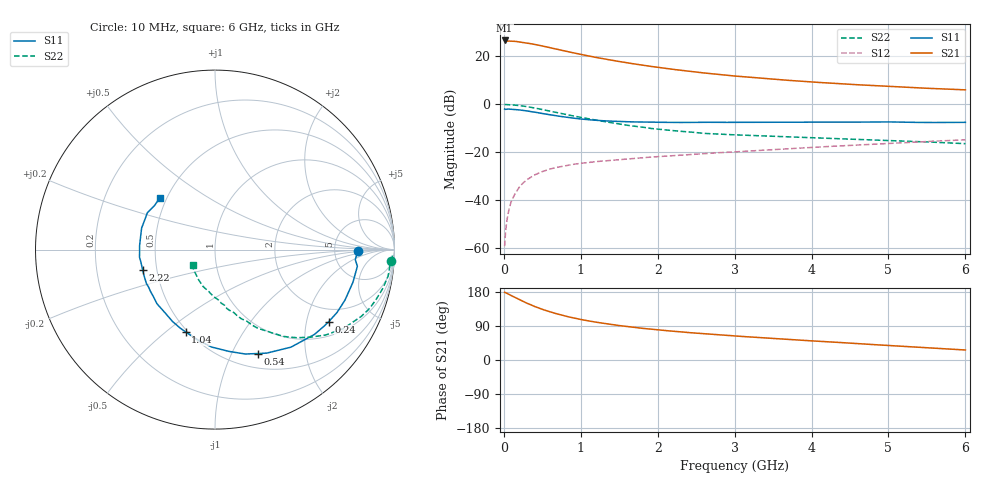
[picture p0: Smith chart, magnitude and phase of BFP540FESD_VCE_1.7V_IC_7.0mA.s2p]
! Infineon Technologies  Discrete & RF Semiconductors
! BFP540FESD
! VCE =  1.7 V,  IC =  7.0 mA
! Common Emitter S-Parameters:  Nov 2015
# GHz  S  MA  R  50
!  f  S11  S21  S12  S22
! GHz  MAG  ANG  MAG  ANG  MAG  ANG  MAG  ANG
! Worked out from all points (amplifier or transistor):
!   210 points, 10 MHz to 6 GHz, reference 50 ohm
!   highest |S21| = 26.6 dB at 10 MHz (marker M1)
!   |S21| within 3 dB of that: start of sweep to 596.2 MHz
!   unconditionally stable (mu >= 1): 2.449 GHz to end of sweep
!   at 185 MHz: K = 0.11, MSG = 30.7 dB, |S12| = -35.3 dB
!   at 1.52 GHz: K = 0.74, MSG = 20.4 dB, |S12| = -23.0 dB
!   at 6 GHz: K = 1.26, MAG = 7.4 dB, |S12| = -14.8 dB
!   S11 on the Smith chart (normalised r, x): 10 MHz: 8.82, -0.34; 240 MHz: 1.48, -2.72; 540 MHz: 0.67, -1.27; 1.04 GHz: 0.49, -0.59; 2.22 GHz: 0.42, -0.12; 6 GHz: 0.46, +0.32
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0.01  0.7966 -0.5  21.45 178.6  0.0011 97.1  0.9841 -3.7
0.02  0.7833 -4.1  20.78 178.0  0.0019 89.5  0.9902 -1.8
0.05  0.7987 -6.7  20.91 175.0  0.0047 89.3  0.9803 -4.3
0.15  0.7768 -21.3  20.57 164.6  0.0139 79.5  0.9603 -12.9
0.24  0.75 -32.4  19.66 155.6  0.022 74.4  0.9246 -20.2
0.3  0.7285 -40.4  19.04 149.9  0.0267 71.0  0.8947 -24.7
0.4  0.6888 -52.1  17.79 141.3  0.0336 65.5  0.8398 -31.6
0.5  0.6449 -63.4  16.51 133.6  0.0395 61.8  0.7784 -37.7
0.54  0.6271 -67.4  15.94 131.0  0.0416 60.3  0.7544 -39.6
0.6  0.6063 -73.7  15.14 126.8  0.0447 58.4  0.7202 -42.7
0.8  0.5432 -92.0  12.88 115.7  0.0522 52.9  0.6174 -51.6
0.9  0.5161 -99.7  11.87 111.0  0.0559 50.9  0.573 -54.8
1.02  0.4902 -108.1  10.84 106.3  0.0592 49.5  0.5273 -58.6
1.04  0.4868 -109.6  10.68 105.5  0.0598 49.3  0.5204 -59.2
1.2  0.4648 -120.7  9.486 99.7  0.0637 47.6  0.4671 -63.9
1.5  0.4419 -137.1  7.799 90.9  0.0702 45.7  0.3891 -71.4
2.02  0.4217 -159.0  5.85 79.2  0.0813 44.1  0.3011 -83.2
2.22  0.4189 -164.1  5.311 75.6  0.0852 43.9  0.2792 -86.6
3.1  0.4203 175.6  3.775 62.1  0.104 42.6  0.2276 -102.2
4.1  0.4253 162.3  2.856 49.4  0.1288 40.3  0.1983 -115.2
5.1  0.4262 150.1  2.327 37.1  0.1561 35.3  0.1726 -128.5
6  0.4205 137.2  2.002 26.4  0.1817 29.8  0.151 -145.1
